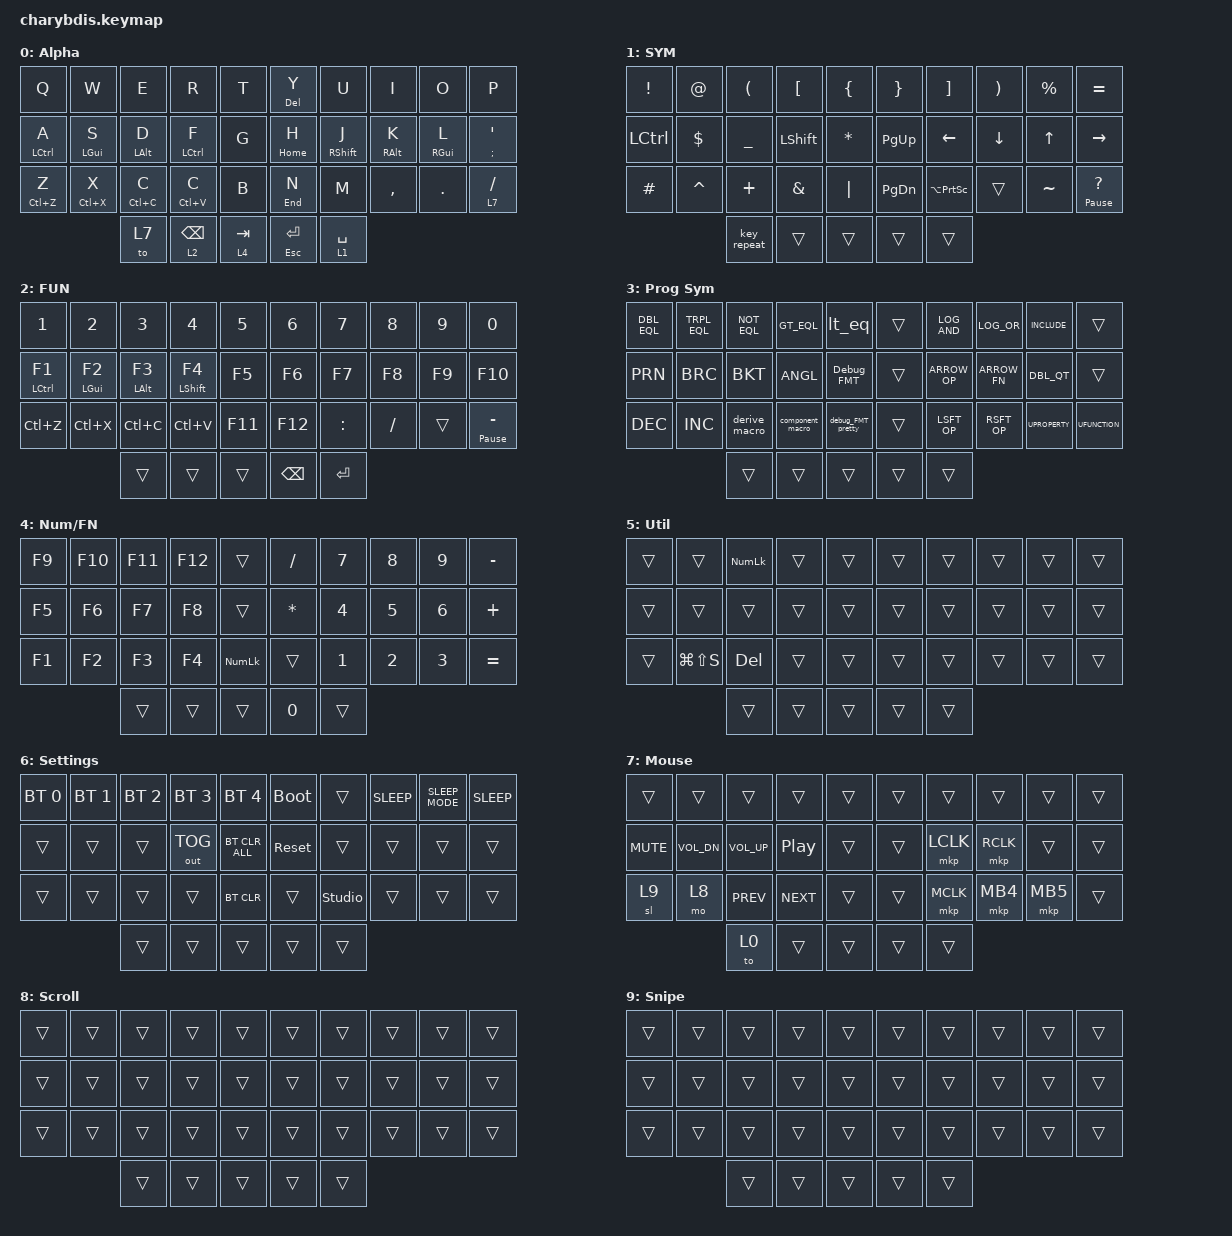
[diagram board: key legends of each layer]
#include "layers.conf"
#include "macros.conf"
#include "combos.conf"
#include <dt-bindings/zmk/mouse.h>
#include <input/processors.dtsi>
#include <dt-bindings/zmk/input_transform.h>
#include <behaviors.dtsi>
#include <dt-bindings/zmk/bt.h>
#include <dt-bindings/zmk/keys.h>
#include <dt-bindings/zmk/outputs.h>
#include <dt-bindings/zmk/pointing.h>

/ {
    trackball_listener {
        compatible = "zmk,input-listener";
        device = <&trackball_split>;

        snipe {
            layers = <SNIPE>;
            input-processors = <&zip_xy_scaler 1 3>;
        };

        scroll {
            layers = <SCROLL>;
            input-processors =
                <&zip_xy_scaler 1 3>,
                <&zip_xy_to_scroll_mapper>,
                <&zip_scroll_transform (INPUT_TRANSFORM_Y_INVERT)>;
        };
    };

    behaviors {
        hm: homerow_mods {
            compatible = "zmk,behavior-hold-tap";
            #binding-cells = <2>;
            tapping-term-ms = <200>;
            flavor = "tap-preferred";
            bindings = <&kp>, <&kp>;
        };

        kp_sl: behavior_kp_sl {
            compatible = "zmk,behavior-hold-tap";
            #binding-cells = <2>;
            flavor = "hold-preferred";
            tapping-term-ms = <200>;
            bindings = <&sl>, <&kp>;
        };

        ht: behavior_hold_tap_key {
            compatible = "zmk,behavior-hold-tap";
            #binding-cells = <2>;
            flavor = "hold-preferred";
            tapping-term-ms = <200>;
            bindings = <&kp>, <&kp>;
        };
    };

    conditional_layers {
        compatible = "zmk,conditional-layers";

        settings_trigger {
            if-layers = <1 2>;
            then-layer = <6>;
        };
    };

    combos {
        compatible = "zmk,combos";

        LH.Lclick {
            bindings = <&mkp LCLK>;
            key-positions = <23 22>;
        };

        Select_All {
            bindings = <&kp LC(A)>;
            key-positions = <1 0>;
        };

        LH.Rclick {
            bindings = <&mkp MB2>;
            key-positions = <22 21>;
        };

        LH.Mclick {
            bindings = <&mkp MCLK>;
            key-positions = <21 22 23>;
        };

        Alt_F4 {
            bindings = <&kp LA(F4)>;
            key-positions = <12 13>;
            layers = <2>;
        };

        Caps {
            bindings = <&kp CAPS>;
            key-positions = <23 31>;
            layers = <0>;
        };

        OSM_LSft {
            bindings = <&sk LSHFT>;
            key-positions = <28 29>;
            timeout-ms = <1000>;
            layers = <0>;
        };
    };

    macros {
        Debug_FMT: Debug_FMT {
            compatible = "zmk,behavior-macro";
            #binding-cells = <0>;
            bindings = <&kp LEFT_BRACE &kp COLON &kp QMARK &kp RBRC>;
            label = "DEBUG_FMT";
        };

        debug_FMT_pretty: debug_FMT_pretty {
            compatible = "zmk,behavior-macro";
            #binding-cells = <0>;
            bindings = <&kp LEFT_BRACE &kp COLON &kp POUND &kp QMARK &kp RBRC>;
            label = "DEBUG_FMT_PRETTY";
        };

        derive_macro: derive {
            compatible = "zmk,behavior-macro";
            #binding-cells = <0>;
            bindings = <&kp POUND &kp LBKT &kp D &kp E &kp R &kp I &kp V &kp E &kp LPAR &kp RPAR &kp RIGHT_BRACKET &kp LEFT &kp LEFT>;
            label = "DERIVE";
        };

        component_macro: component_macro {
            compatible = "zmk,behavior-macro";
            #binding-cells = <0>;
            bindings = <&kp POUND &kp LBKT &kp C &kp O &kp M &kp P &kp O &kp N &kp E &kp N &kp T &kp RIGHT_BRACKET &kp RETURN>;
            label = "COMPONENT_MACRO";
        };

        lt_eq: lt_eq {
            compatible = "zmk,behavior-macro";
            #binding-cells = <0>;
            bindings = <&kp LT &kp EQUAL &kp SPACE>;
            label = "LT_EQ";
        };
    };

    keymap {
        compatible = "zmk,keymap";

        base_layer {
            display-name = "Alpha";
            bindings = <
  &kp Q               &kp W           &kp E           &kp R            &kp T        &ht DELETE Y    &kp U              &kp I            &kp O            &kp P
  &hm LEFT_CONTROL A  &hm LEFT_GUI S  &hm LEFT_ALT D  &hm LCTRL F      &kp G        &ht HOME H      &hm RIGHT_SHIFT J  &hm RIGHT_ALT K  &hm RIGHT_GUI L  &ht SEMI APOS
  &mt LC(Z) Z         &mt LC(X) X     &mt LC(C) C     &mt LC(V) C      &kp B        &ht END N       &kp M              &kp COMMA        &kp PERIOD       &lt 7 SLASH
                                      &to 7           &lt 2 BACKSPACE  &lt 4 TAB    &ht ESCAPE RET  &lt 1 SPACE
            >;
        };

        sym_layer {
            display-name = "SYM";
            bindings = <
  &kp EXCL   &kp AT      &kp LEFT_PARENTHESIS  &kp LEFT_BRACKET  &kp LEFT_BRACE    &kp RIGHT_BRACE  &kp RIGHT_BRACKET    &kp RIGHT_PARENTHESIS  &kp PERCENT  &kp EQUAL
  &kp LCTRL  &kp DOLLAR  &kp UNDERSCORE        &kp LSHFT         &kp STAR          &kp PAGE_UP      &kp LEFT             &kp DOWN               &kp UP       &kp RIGHT
  &kp HASH   &kp CARET   &kp PLUS              &kp AMPS          &kp PIPE          &kp PAGE_DOWN    &kp LA(PRINTSCREEN)  &trans                 &kp TILDE    &ht PAUSE_BREAK QMARK
                         &key_repeat           &trans            &trans            &trans           &trans
            >;
        };

        fun_layer {
            display-name = "FUN";
            bindings = <
  &kp NUMBER_1  &kp NUMBER_2     &kp NUMBER_3     &kp NUMBER_4  &kp N5     &kp NUMBER_6   &kp N7     &kp N8     &kp N9  &kp N0
  &hm LCTRL F1  &hm LEFT_GUI F2  &hm LEFT_ALT F3  &hm LSHFT F4  &kp F5     &kp F6         &kp F7     &kp F8     &kp F9  &kp F10
  &kp LC(Z)     &kp LC(X)        &kp LC(C)        &kp LC(V)     &kp F11    &kp F12        &kp COLON  &kp SLASH  &trans  &ht PAUSE_BREAK MINUS
                                 &trans           &trans        &trans     &kp BACKSPACE  &kp RET
            >;
        };

        prog_sym_layer {
            display-name = "Prog Sym";
            bindings = <
  &DBL_EQL  &TRPL_EQL  &NOT_EQL       &GT_EQL           &lt_eq               &trans  &LOG_AND   &LOG_OR    &INCLUDE    &trans
  &PRN      &BRC       &BKT           &ANGL             &Debug_FMT           &trans  &ARROW_OP  &ARROW_FN  &DBL_QT     &trans
  &DEC      &INC       &derive_macro  &component_macro  &debug_FMT_pretty    &trans  &LSFT_OP   &RSFT_OP   &UPROPERTY  &UFUNCTION
                       &trans         &trans            &trans               &trans  &trans
            >;
        };

        numfn_layer {
            display-name = "Num/FN";
            bindings = <
  &kp F9  &kp F10  &kp F11  &kp F12  &trans            &kp SLASH  &kp N7  &kp N8  &kp N9  &kp MINUS
  &kp F5  &kp F6   &kp F7   &kp F8   &trans            &kp STAR   &kp N4  &kp N5  &kp N6  &kp PLUS
  &kp F1  &kp F2   &kp F3   &kp F4   &kp KP_NUMLOCK    &trans     &kp N1  &kp N2  &kp N3  &kp EQUAL
                   &trans   &trans   &trans            &kp N0     &trans
            >;
        };

        util_layer {
            display-name = "Util";
            bindings = <
  &trans  &trans         &kp KP_NUMLOCK  &trans  &trans    &trans  &trans  &trans  &trans  &trans
  &trans  &trans         &trans          &trans  &trans    &trans  &trans  &trans  &trans  &trans
  &trans  &kp LG(LS(S))  &kp DEL         &trans  &trans    &trans  &trans  &trans  &trans  &trans
                         &trans          &trans  &trans    &trans  &trans
            >;
        };

        settings_layer {
            display-name = "Settings";
            bindings = <
  &bt BT_SEL 0  &bt BT_SEL 1  &bt BT_SEL 2  &bt BT_SEL 3  &bt BT_SEL 4      &bootloader  &trans          &kp K_SLEEP  &kp C_SLEEP_MODE  &kp C_SLEEP
  &trans        &trans        &trans        &out OUT_TOG  &bt BT_CLR_ALL    &sys_reset   &trans          &trans       &trans            &trans
  &trans        &trans        &trans        &trans        &bt BT_CLR        &trans       &studio_unlock  &trans       &trans            &trans
                              &trans        &trans        &trans            &trans       &trans
            >;
        };

        mouse_layer {
            display-name = "Mouse";
            bindings = <
  &trans      &trans        &trans           &trans            &trans    &trans  &trans     &trans     &trans    &trans
  &kp C_MUTE  &kp C_VOL_DN  &kp C_VOLUME_UP  &kp C_PLAY_PAUSE  &trans    &trans  &mkp LCLK  &mkp RCLK  &trans    &trans
  &sl 9       &mo 8         &kp C_PREV       &kp C_NEXT        &trans    &trans  &mkp MCLK  &mkp MB4   &mkp MB5  &trans
                            &to 0            &trans            &trans    &trans  &trans
            >;
        };

        scroll_layer {
            display-name = "Scroll";
            bindings = <
  &trans  &trans  &trans  &trans  &trans    &trans  &trans  &trans  &trans  &trans
  &trans  &trans  &trans  &trans  &trans    &trans  &trans  &trans  &trans  &trans
  &trans  &trans  &trans  &trans  &trans    &trans  &trans  &trans  &trans  &trans
                  &trans  &trans  &trans    &trans  &trans
            >;
        };

        snipe_layer {
            display-name = "Snipe";
            bindings = <
  &trans  &trans  &trans  &trans  &trans    &trans  &trans  &trans  &trans  &trans
  &trans  &trans  &trans  &trans  &trans    &trans  &trans  &trans  &trans  &trans
  &trans  &trans  &trans  &trans  &trans    &trans  &trans  &trans  &trans  &trans
                  &trans  &trans  &trans    &trans  &trans
            >;
        };
    };
};
